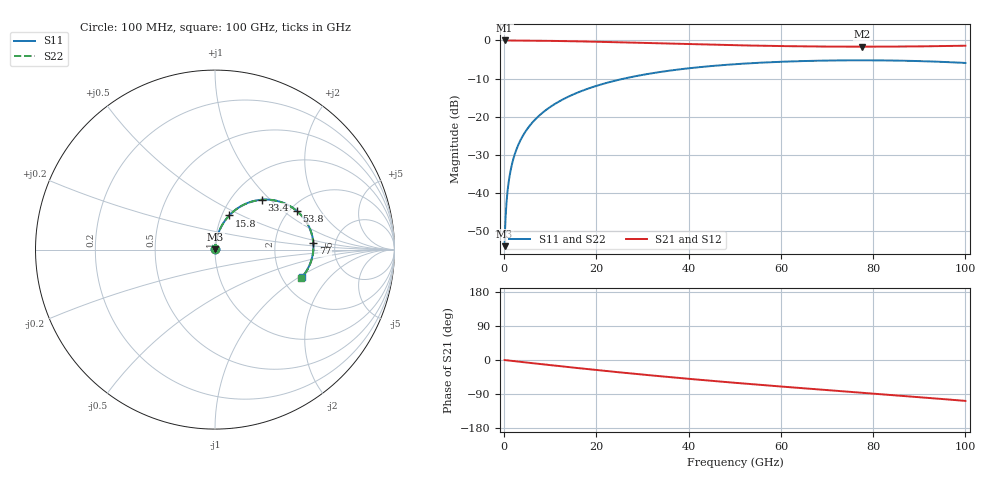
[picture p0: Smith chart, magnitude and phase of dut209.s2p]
! Touchstone file exported from HFSS 2026.1.0
!  File:  C:/ffzhzh/LocalFiles/Ansys_Project_Files/temp_train_RDL_209_1783500835_44152.aedt
!  Generated:  04:55:09 PM Jul  8, 2026
!  Design:  RDL
!  Project:  temp_train_RDL_209_1783500835_44152
! Variables:
!  h_bsmrdl = 2um
!  h_ox = 20um
!  h_rdl = 5um
!  h_sub = 80um
!  h_tmrdl = 4.12um
!  h_tsv = 80um
!  h_via = 3um
!  l_bsmrdl = 300um
!  l_sub = 749.99um
!  l_tmrdl = 349.99um
!  m_sub = 200um
!  pitch = 58.33um
!  r_tsv = 6um
!  s_tmrdl = 10um
!  w_bsmrdl = 18um
!  w_sub = 500um
!  w_tmrdl = 26.96um
!  x_tsv_center1 = 363.47um
!  x_tsv_center2 = 681.47um
!  x_tsv_center3 = 1058.42um
!  x_tsv_center4 = 1376.42um
!  x_tsv_center5 = 1753.37um
!  x_tsv_center6 = 2071.37um
# GHz S MA R 50.000000
! Terminal data exported
! Port[1] = TM_RDL1_1_T1
! Port[2] = TM_RDL1_1_T2
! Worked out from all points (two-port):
!   1000 points, 100 MHz to 100 GHz, reference 50 ohm
!   highest |S21| = -0.01 dB at 100 MHz (marker M1); lowest = -1.6 dB at 77.6 GHz (marker M2)
!   |S21| within 3 dB of the highest: start of sweep to end of sweep
!   lowest |S11| = -53.9 dB at 100 MHz (marker M3), VSWR 1.00, Z = 50.1 + j0.154 ohm
!   |S11| at or under -10 dB: start of sweep to 25.98 GHz
!   |S22| runs from -53.9 to -5.2 dB; largest |S21 - S12| = 3.6e-15
!   S11 on the Smith chart (normalised r, x): 100 MHz: 1.00, +0.00; 15.8 GHz: 1.08, +0.43; 33.4 GHz: 1.37, +0.90; 53.8 GHz: 2.17, +1.26; 77 GHz: 3.40, +0.35; 100 GHz: 2.55, -1.06
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0.1  0.002021 49.3  0.9987 -0.1  0.9987 -0.1  0.002021 49.3
! Gamma 0 0 0 0
! Port Impedance 50 0 50 0
0.4  0.005998 74.6  0.9984 -0.6  0.9984 -0.6  0.005998 74.6
0.8  0.01149 80.6  0.9983 -1.1  0.9983 -1.1  0.01149 80.6
1.1  0.01565 82.2  0.9982 -1.5  0.9982 -1.5  0.01565 82.2
1.4  0.01982 82.9  0.998 -1.9  0.998 -1.9  0.01982 82.9
1.9  0.02676 83.3  0.9977 -2.6  0.9977 -2.6  0.02676 83.3
2.4  0.03369 83.2  0.9974 -3.3  0.9974 -3.3  0.03369 83.2
3.7  0.05155 82.1  0.9962 -5.1  0.9962 -5.1  0.05155 82.1
5.7  0.07852 79.8  0.9937 -7.8  0.9937 -7.8  0.07852 79.8
8.3  0.1127 76.7  0.9895 -11.3  0.9895 -11.3  0.1127 76.6
11.7  0.156 72.5  0.9828 -15.7  0.9828 -15.7  0.156 72.4
15.8  0.2059 67.4  0.9729 -21.1  0.9729 -21.1  0.2059 67.3
16.8  0.2177 66.2  0.9702 -22.3  0.9702 -22.3  0.2177 66.1
24.2  0.2985 57.2  0.9477 -31.5  0.9477 -31.5  0.2985 57.1
33.4  0.3826 46.6  0.9165 -42.4  0.9165 -42.4  0.3826 46.5
50.1  0.4883 29.1  0.8649 -60.2  0.8649 -60.2  0.4883 28.9
53.8  0.5041 25.4  0.8558 -63.9  0.8558 -63.9  0.5042 25.2
66.7  0.5401 13.2  0.8338 -76.3  0.8338 -76.3  0.5401 12.9
77  0.549 3.7  0.8278 -85.9  0.8278 -85.9  0.5491 3.4
77.6  0.549 3.2  0.8278 -86.5  0.8278 -86.5  0.5491 2.9
83.4  0.546 -2.2  0.8295 -91.9  0.8295 -91.9  0.5461 -2.5
100  0.5067 -17.8  0.8525 -107.9  0.8525 -107.9  0.5068 -18.2
